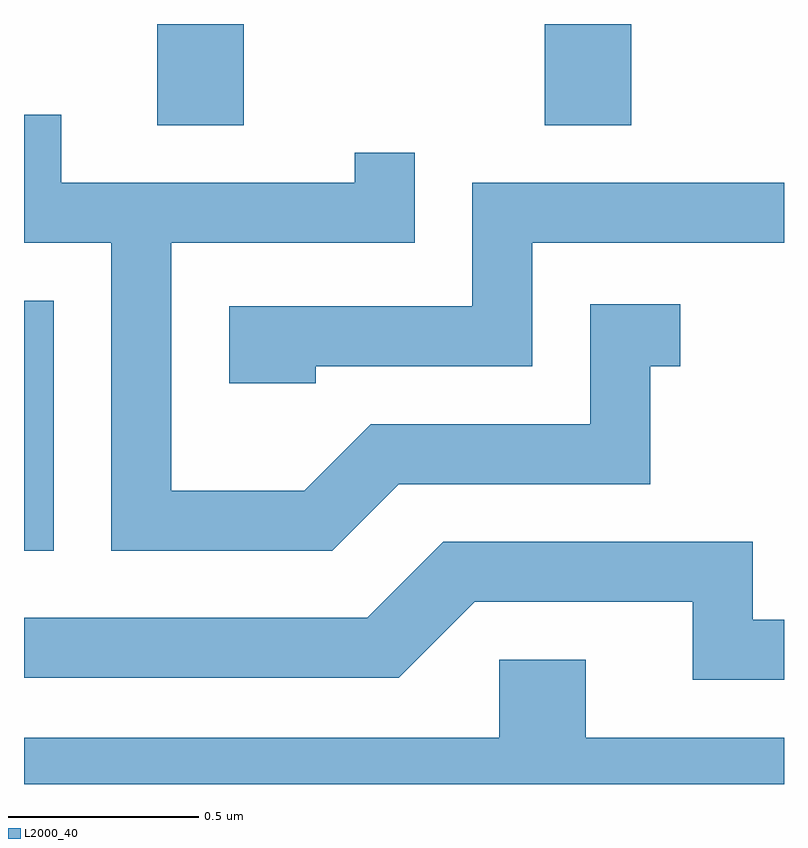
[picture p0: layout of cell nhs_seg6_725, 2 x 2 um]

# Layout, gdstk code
import gdstk
lib = gdstk.Library(unit=1e-6, precision=1e-09)
def R(c, l, rs):  # rectangles x0, y0, x1, y1
    for r in rs: c.add(gdstk.rectangle(r[:2], r[2:], *l))
def P(c, l, *ps):  # polygons
    for p in ps: c.add(gdstk.Polygon(p, *l))
L2000_40 = (2000, 40)

nhs_seg6_725 = lib.new_cell('nhs_seg6_725')
R(nhs_seg6_725, L2000_40, [(190.611,1570.776,190.689,1571.434), (190.961,1571.896,191.189,1572.162), (191.981,1571.896,192.209,1572.162)])
P(nhs_seg6_725, L2000_40, [(191.597,1570.951),(192.259,1570.951),(192.259,1571.261),(192.338,1571.261),(192.338,1571.424),(192.101,1571.424),(192.101,1571.109),(191.524,1571.109),(191.349,1570.934),(190.999,1570.934),(190.999,1571.586),(191.639,1571.586),(191.639,1571.823),(191.481,1571.823),(191.481,1571.744),(190.709,1571.744),(190.709,1571.923),(190.611,1571.923),(190.611,1571.586),(190.841,1571.586),(190.841,1570.776),(191.422,1570.776)],
  [(191.379,1571.261),(191.949,1571.261),(191.949,1571.586),(192.611,1571.586),(192.611,1571.744),(191.791,1571.744),(191.791,1571.419),(191.151,1571.419),(191.151,1571.216),(191.379,1571.216)],
  [(192.611,1570.594),(192.529,1570.594),(192.529,1570.799),(191.714,1570.799),(191.514,1570.599),(190.611,1570.599),(190.611,1570.441),(191.597,1570.441),(191.797,1570.641),(192.371,1570.641),(192.371,1570.436),(192.611,1570.436)],
  [(192.611,1570.284),(192.089,1570.284),(192.089,1570.489),(191.861,1570.489),(191.861,1570.284),(190.611,1570.284),(190.611,1570.162),(192.611,1570.162)])

lib.write_gds('nhs_seg6_725.gds')
